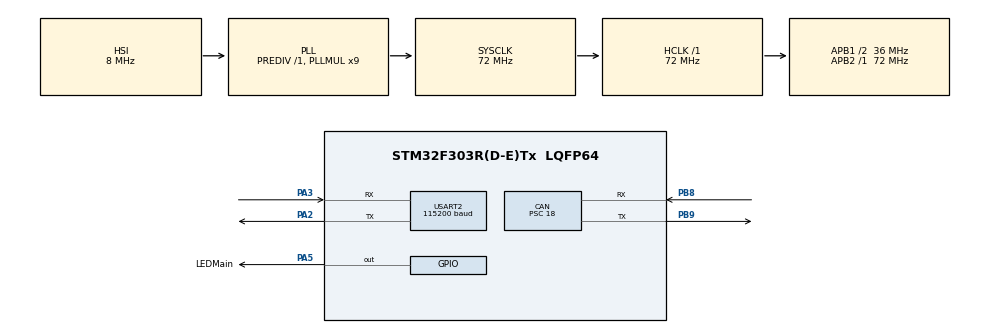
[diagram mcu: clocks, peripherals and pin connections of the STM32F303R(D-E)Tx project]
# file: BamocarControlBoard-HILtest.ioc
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CAN.BS1=CAN_BS1_4TQ
CAN.BS2=CAN_BS2_3TQ
CAN.CalculateTimeBit=4000
CAN.CalculateTimeQuantum=500.0
CAN.Mode=CAN_MODE_NORMAL
CAN.Prescaler=18
CAN.SJW=CAN_SJW_4TQ
Dma.Request0=USART2_RX
Dma.Request1=USART2_TX
Dma.USART2_RX.0.Direction=DMA_PERIPH_TO_MEMORY
Dma.USART2_RX.0.Instance=DMA1_Channel6
Dma.USART2_RX.0.MemDataAlignment=DMA_MDATAALIGN_BYTE
Dma.USART2_RX.0.MemInc=DMA_MINC_ENABLE
Dma.USART2_RX.0.Mode=DMA_CIRCULAR
Dma.USART2_RX.0.PeriphDataAlignment=DMA_PDATAALIGN_BYTE
Dma.USART2_RX.0.PeriphInc=DMA_PINC_DISABLE
Dma.USART2_RX.0.Priority=DMA_PRIORITY_LOW
Dma.USART2_TX.1.Direction=DMA_MEMORY_TO_PERIPH
Dma.USART2_TX.1.Instance=DMA1_Channel7
Dma.USART2_TX.1.MemDataAlignment=DMA_MDATAALIGN_BYTE
Dma.USART2_TX.1.MemInc=DMA_MINC_ENABLE
Dma.USART2_TX.1.Mode=DMA_NORMAL
Dma.USART2_TX.1.PeriphDataAlignment=DMA_PDATAALIGN_BYTE
Dma.USART2_TX.1.PeriphInc=DMA_PINC_DISABLE
Dma.USART2_TX.1.Priority=DMA_PRIORITY_LOW
Mcu.Family=STM32F3
Mcu.Name=STM32F303R(D-E)Tx
Mcu.Package=LQFP64
NVIC.CAN_RX1_IRQn=true\:0\:0\:false\:false\:true\:true
NVIC.CAN_SCE_IRQn=true\:0\:0\:false\:false\:true\:true
NVIC.DMA1_Channel6_IRQn=true\:0\:0\:false\:false\:true\:false
NVIC.DMA1_Channel7_IRQn=true\:0\:0\:false\:false\:true\:false
NVIC.PriorityGroup=NVIC_PRIORITYGROUP_4
NVIC.TIM1_UP_TIM16_IRQn=true\:0\:0\:false\:false\:true\:true
NVIC.USART2_IRQn=true\:0\:0\:false\:false\:true\:true
NVIC.USB_HP_CAN_TX_IRQn=true\:0\:0\:false\:false\:true\:true
NVIC.USB_LP_CAN_RX0_IRQn=true\:0\:0\:false\:false\:true\:true
PA2.Mode=Asynchronous
PA2.Signal=USART2_TX
PA3.Mode=Asynchronous
PA3.Signal=USART2_RX
PA5.GPIO_Label=LEDMain
PA5.Signal=GPIO_Output
PB8.Mode=Master
PB8.Signal=CAN_RX
PB9.Mode=Master
PB9.Signal=CAN_TX
PF0-OSC_IN.Mode=HSE-External-Oscillator
PF0-OSC_IN.Signal=RCC_OSC_IN
PF1-OSC_OUT.Mode=HSE-External-Oscillator
PF1-OSC_OUT.Signal=RCC_OSC_OUT
ProjectManager.HeapSize=0x200
ProjectManager.StackSize=0x400
ProjectManager.TargetToolchain=TrueSTUDIO
RCC.AHBFreq_Value=72000000
RCC.APB1CLKDivider=RCC_HCLK_DIV2
RCC.APB1Freq_Value=36000000
RCC.APB1TimFreq_Value=72000000
RCC.APB2Freq_Value=72000000
RCC.APB2TimFreq_Value=72000000
RCC.CortexFreq_Value=72000000
RCC.HCLKFreq_Value=72000000
RCC.HSE_VALUE=8000000
RCC.HSI_VALUE=8000000
RCC.LSE_VALUE=32768
RCC.PLLMUL=RCC_PLL_MUL9
RCC.SYSCLKFreq_VALUE=72000000
RCC.SYSCLKSourceVirtual=RCC_SYSCLKSOURCE_PLLCLK
RCC.USBFreq_Value=72000000
TIM16.Period=719
TIM16.Prescaler=9999
USART2.BaudRate=115200
USART2.OverSampling=UART_OVERSAMPLING_8
USART2.VirtualMode-Asynchronous=VM_ASYNC
USART2.WordLength=WORDLENGTH_8B
VP_TIM16_VS_ClockSourceINT.Mode=Enable_Timer
board=BamocarControlBoard-HILtest

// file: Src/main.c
/**
  ******************************************************************************
  * @file           : main.c
  * @brief          : Main program body
  ******************************************************************************
  ** This notice applies to any and all portions of this file
  * that are not between comment pairs USER CODE BEGIN and
  * USER CODE END. Other portions of this file, whether
  * inserted by the user or by software development tools
  * are owned by their respective copyright owners.
  *
  * COPYRIGHT(c) 2018 STMicroelectronics
  *
  * Redistribution and use in source and binary forms, with or without modification,
  * are permitted provided that the following conditions are met:
  *   1. Redistributions of source code must retain the above copyright notice,
  *      this list of conditions and the following disclaimer.
  *   2. Redistributions in binary form must reproduce the above copyright notice,
  *      this list of conditions and the following disclaimer in the documentation
  *      and/or other materials provided with the distribution.
  *   3. Neither the name of STMicroelectronics nor the names of its contributors
  *      may be used to endorse or promote products derived from this software
  *      without specific prior written permission.
  *
  * THIS SOFTWARE IS PROVIDED BY THE COPYRIGHT HOLDERS AND CONTRIBUTORS "AS IS"
  * AND ANY EXPRESS OR IMPLIED WARRANTIES, INCLUDING, BUT NOT LIMITED TO, THE
  * IMPLIED WARRANTIES OF MERCHANTABILITY AND FITNESS FOR A PARTICULAR PURPOSE ARE
  * DISCLAIMED. IN NO EVENT SHALL THE COPYRIGHT HOLDER OR CONTRIBUTORS BE LIABLE
  * FOR ANY DIRECT, INDIRECT, INCIDENTAL, SPECIAL, EXEMPLARY, OR CONSEQUENTIAL
  * DAMAGES (INCLUDING, BUT NOT LIMITED TO, PROCUREMENT OF SUBSTITUTE GOODS OR
  * SERVICES; LOSS OF USE, DATA, OR PROFITS; OR BUSINESS INTERRUPTION) HOWEVER
  * CAUSED AND ON ANY THEORY OF LIABILITY, WHETHER IN CONTRACT, STRICT LIABILITY,
  * OR TORT (INCLUDING NEGLIGENCE OR OTHERWISE) ARISING IN ANY WAY OUT OF THE USE
  * OF THIS SOFTWARE, EVEN IF ADVISED OF THE POSSIBILITY OF SUCH DAMAGE.
  *
  ******************************************************************************
  */
#include "main.h"
#include "stm32f3xx_hal.h"
#include "can.h"
#include "dma.h"
#include "tim.h"
#include "usart.h"
#include "gpio.h"

/* USER CODE BEGIN Includes */
#define CAN_DATA_LEN 3 //ilośc bajtów danych
#define CAN_ID_TX 0x201 //ID ramki wysyłanej do sterownika, wykorzystywane w filtrach
#define CAN_ID_RX 0x181 //ID ramki odebranej ze sterownika, wykorzystywane w filtrach
//#define CAN_ID_RX 0x201

//#include <string.h>
/* USER CODE END Includes */

/* USER CODE BEGIN PV */
/* Private variables ---------------------------------------------------------*/
CanTxMsgTypeDef Tx; //struktura przechwoująca ramkę do wysłania
static uint8_t DataUART[CAN_DATA_LEN]; //dane odebrane przez UART
static uint8_t DataCAN[CAN_DATA_LEN+1]; //dane odebrane z magistrali CAN
CanRxMsgTypeDef Rx; //struktura przechwoująca ramkę do odebrania
CanRxMsgTypeDef Rx2; //do drugiej kolejki
CAN_FilterConfTypeDef Rx_Filter; //struktura do konfiguracji filtra
/* USER CODE END PV */

void SystemClock_Config(void);

/* USER CODE BEGIN PFP */
/* Private function prototypes -----------------------------------------------*/
void HAL_CAN_TxCpltCallback(CAN_HandleTypeDef *hcan){
//	HAL_GPIO_WritePin(LEDMain_GPIO_Port, LEDMain_Pin, GPIO_PIN_SET); //świecimy jeśli wyślemy ramke
//	TIM16->CNT=0;
//	HAL_TIM_Base_Start_IT(&htim16);
}

void HAL_CAN_RxCpltCallback(CAN_HandleTypeDef *hcan){
// można dorzucic wewnętrzną weryfikację poprawności danych
//	if(Rx.Data[0]==cośtam)
//	i zapalanie innej diody z kolejnym timerem
	HAL_GPIO_WritePin(LEDMain_GPIO_Port, LEDMain_Pin, GPIO_PIN_SET); //świecimy jeśli wyślemy ramke
	TIM16->CNT=0;
	HAL_TIM_Base_Start_IT(&htim16);

	uint8_t i;
	for(i=0; i<CAN_DATA_LEN; i++){
		DataCAN[i] = Rx.Data[i];
	}

	HAL_UART_Transmit_DMA(&huart2, DataCAN, sizeof(DataCAN)); //wysłanie danych przez UART

	HAL_CAN_Receive_IT(hcan, CAN_FIFO0); //powrót do nasłuchiwania przerwań
}

//void HAL_CAN_ErrorCallback(CAN_HandleTypeDef *hcan){
//	if (HAL_CAN_GetState(hcan) ==  HAL_CAN_STATE_ERROR){
//		HAL_GPIO_WritePin(LEDMain_GPIO_Port, LEDMain_Pin, GPIO_PIN_SET); //świecimy jeśli wyślemy ramke
//		TIM16->CNT=0;
//		HAL_TIM_Base_Start_IT(&htim16);
//	}
//}

void HAL_TIM_PeriodElapsedCallback(TIM_HandleTypeDef *htim){
	if(htim->Instance == TIM16){
		HAL_GPIO_WritePin(LEDMain_GPIO_Port, LEDMain_Pin, GPIO_PIN_RESET);
		HAL_TIM_Base_Stop_IT(&htim16);
	}
}

void HAL_UART_RxCpltCallback(UART_HandleTypeDef *huart){
	uint8_t i;
	for(i=0; i<CAN_DATA_LEN; i++){ //pętla do przepisania danych
		Tx.Data[i] = DataUART[i];
	}

	HAL_CAN_Transmit_IT(&hcan); //wysłanie ramki przez CANa

	HAL_UART_Receive_DMA(huart, DataUART, CAN_DATA_LEN); // ponowne włączenie nasłuchiwania na przerwania, byc może niekonieczne
}

//void HAL_UART_TxCpltCallback(UART_HandleTypeDef *huart){
//}
/* USER CODE END PFP */

int main(void)
{

  /* MCU Configuration----------------------------------------------------------*/

  /* Reset of all peripherals, Initializes the Flash interface and the Systick. */
  HAL_Init();

  /* Configure the system clock */
  SystemClock_Config();

  /* Initialize all configured peripherals */
  MX_GPIO_Init();
  MX_DMA_Init();
  MX_TIM16_Init();
  MX_USART2_UART_Init();
  MX_CAN_Init();
  /* USER CODE BEGIN 2 */

  // konfiguracja przerwañ w CAN-ie
  __HAL_CAN_ENABLE_IT(&hcan, CAN_IT_FMP0);
  __HAL_CAN_ENABLE_IT(&hcan, CAN_IT_FMP1);

  //konfiguracja ramki nadawczej
  Tx.DLC = CAN_DATA_LEN;
  Tx.RTR = CAN_RTR_DATA;
  Tx.IDE = CAN_ID_STD; //wersja podstawowa ID
  Tx.StdId = CAN_ID_TX;
  hcan.pTxMsg = &Tx; //przekazanie konfiguracji ramki do głównej struktury

  //konfiguracja filtra ramki odbiorczej
  Rx_Filter.FilterNumber = 1;
  Rx_Filter.FilterMode = CAN_FILTERMODE_IDMASK;	//ustawiamy filtrowanie przez maske, a nie przez listę
  Rx_Filter.FilterMaskIdHigh = 0xFFFF; // obie maski na 1, nie mają wtedy znaczenia
  Rx_Filter.FilterMaskIdLow = 0xFFFF;
  Rx_Filter.FilterIdHigh = CAN_ID_RX << 5; //ustawiamy takie highID jakie ID ma p³ytka wysy³aj¹ca oraz przesuwamy bitowo o 5, bo ID ma tylko 11 bitów
  Rx_Filter.FilterIdLow = 0x00; //troche nie wiemy czemu ale zmiana low nic nie zmienia w dzia³aniu naszego kodu - bo tutaj w tym trybie filtrów podajecie drugi identyfikator, który filtr przepusci
  Rx_Filter.FilterActivation = ENABLE; //aktywacja filtra
  HAL_CAN_ConfigFilter(&hcan, &Rx_Filter); //odpalenie filtra

  //konfiguracja ramki odbiorczej
  hcan.pRxMsg = &Rx; //przesłąnie wskaźnika na ramkę do głównej struktury
  hcan.pRx1Msg = &Rx2; //dla drugiej kolejki
  HAL_CAN_Receive_IT(&hcan, CAN_FIFO0); //pierwsze przerwanie CAN na kolejce numer 0

  //pierwsze uruchomienie timera, konieczne ze względu na błąd w bibliotece HAL
  HAL_TIM_Base_Start_IT(&htim16); //tutaj wykonujemy start, stop i wyzerowanie timera, żeby wyeliminowac błąd, w którym
  HAL_TIM_Base_Stop_IT(&htim16);  // pierwsze przerwanie nie działało poprawnie
  TIM16->CNT=0;

  HAL_UART_Receive_DMA(&huart2, DataUART, CAN_DATA_LEN); //rozpoczęcie nasłuchiwania na dane z UARTa

  HAL_CAN_Receive_IT(&hcan, CAN_FIFO0); //pierwsze przerwanie CAN na kolejce numer 0
  /* USER CODE END 2 */

  /* Infinite loop */
  while (1)
  {

  }

}

void SystemClock_Config(void)
{

  RCC_OscInitTypeDef RCC_OscInitStruct;
  RCC_ClkInitTypeDef RCC_ClkInitStruct;
  RCC_PeriphCLKInitTypeDef PeriphClkInit;

    /**Initializes the CPU, AHB and APB busses clocks
    */
  RCC_OscInitStruct.OscillatorType = RCC_OSCILLATORTYPE_HSI;
  RCC_OscInitStruct.HSIState = RCC_HSI_ON;
  RCC_OscInitStruct.HSICalibrationValue = 16;
  RCC_OscInitStruct.PLL.PLLState = RCC_PLL_ON;
  RCC_OscInitStruct.PLL.PLLSource = RCC_PLLSOURCE_HSI;
  RCC_OscInitStruct.PLL.PLLMUL = RCC_PLL_MUL9;
  RCC_OscInitStruct.PLL.PREDIV = RCC_PREDIV_DIV1;
  if (HAL_RCC_OscConfig(&RCC_OscInitStruct) != HAL_OK)
  {
    _Error_Handler(__FILE__, __LINE__);
  }

    /**Initializes the CPU, AHB and APB busses clocks
    */
  RCC_ClkInitStruct.ClockType = RCC_CLOCKTYPE_HCLK|RCC_CLOCKTYPE_SYSCLK
                              |RCC_CLOCKTYPE_PCLK1|RCC_CLOCKTYPE_PCLK2;
  RCC_ClkInitStruct.SYSCLKSource = RCC_SYSCLKSOURCE_PLLCLK;
  RCC_ClkInitStruct.AHBCLKDivider = RCC_SYSCLK_DIV1;
  RCC_ClkInitStruct.APB1CLKDivider = RCC_HCLK_DIV2;
  RCC_ClkInitStruct.APB2CLKDivider = RCC_HCLK_DIV1;

  if (HAL_RCC_ClockConfig(&RCC_ClkInitStruct, FLASH_LATENCY_2) != HAL_OK)
  {
    _Error_Handler(__FILE__, __LINE__);
  }

  PeriphClkInit.PeriphClockSelection = RCC_PERIPHCLK_USART2|RCC_PERIPHCLK_TIM16;
  PeriphClkInit.Usart2ClockSelection = RCC_USART2CLKSOURCE_PCLK1;
  PeriphClkInit.Tim16ClockSelection = RCC_TIM16CLK_HCLK;
  if (HAL_RCCEx_PeriphCLKConfig(&PeriphClkInit) != HAL_OK)
  {
    _Error_Handler(__FILE__, __LINE__);
  }

    /**Configure the Systick interrupt time
    */
  HAL_SYSTICK_Config(HAL_RCC_GetHCLKFreq()/1000);

    /**Configure the Systick
    */
  HAL_SYSTICK_CLKSourceConfig(SYSTICK_CLKSOURCE_HCLK);

  /* SysTick_IRQn interrupt configuration */
  HAL_NVIC_SetPriority(SysTick_IRQn, 0, 0);
}

void _Error_Handler(char *file, int line)
{
  while(1)
  {
  }
}

/************************ (C) COPYRIGHT STMicroelectronics *****END OF FILE****/
